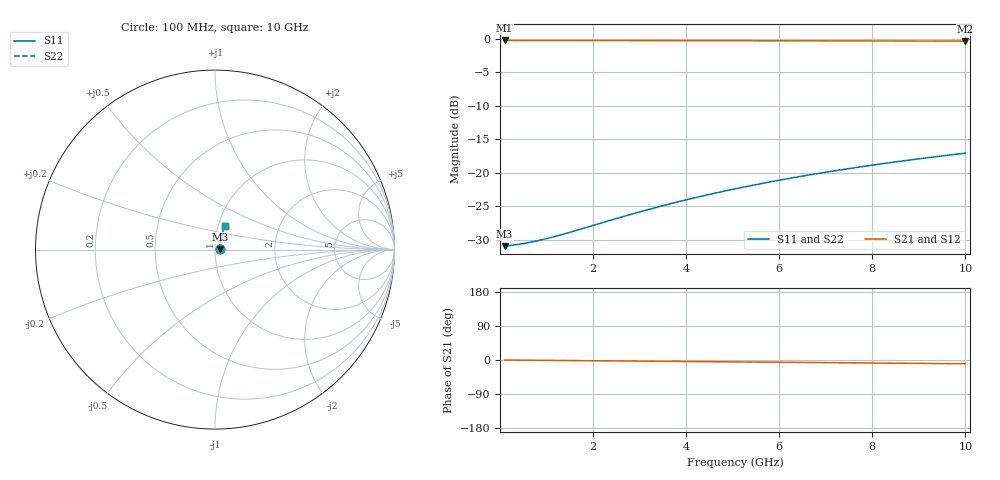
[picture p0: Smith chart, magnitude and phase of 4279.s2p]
# Hz S RI R 50.00
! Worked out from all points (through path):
!   100 points, 100 MHz to 10 GHz, reference 50 ohm
!   highest |S21| = -0.25 dB at 100 MHz (marker M1); lowest = -0.4 dB at 10 GHz (marker M2)
!   group delay of S21, straight-line fit = 2.74 ps
!   lowest |S11| = -31.0 dB at 100 MHz (marker M3), VSWR 1.06, Z = 52.9 + j0.141 ohm
!   |S11| at or under -10 dB: start of sweep to end of sweep
!   |S22| runs from -31.0 to -17.1 dB; largest |S21 - S12| = 0
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1e8  0.0282 0.00133  0.9718 -0.00168  0.9718 -0.00168  0.0282 0.00133
3e8  0.0285 0.00399  0.9715 -0.00505  0.9715 -0.00505  0.0285 0.00399
5e8  0.0287 0.00665  0.9713 -0.00841  0.9713 -0.00841  0.0287 0.00665
8e8  0.029 0.0106  0.9709 -0.0134  0.9709 -0.0134  0.029 0.0106
1e9  0.0292 0.0133  0.9708 -0.0168  0.9708 -0.0168  0.0292 0.0133
1.2e9  0.0294 0.016  0.9706 -0.0202  0.9706 -0.0202  0.0294 0.016
1.5e9  0.0297 0.0199  0.9702 -0.0252  0.9702 -0.0252  0.0297 0.0199
1.8e9  0.0301 0.0239  0.9699 -0.0302  0.9699 -0.0302  0.0301 0.0239
2.7e9  0.0313 0.0358  0.9687 -0.0453  0.9687 -0.0453  0.0313 0.0358
3.1e9  0.0319 0.0411  0.9681 -0.052  0.9681 -0.052  0.0319 0.0411
3.4e9  0.0324 0.045  0.9675 -0.057  0.9675 -0.057  0.0324 0.045
3.8e9  0.0331 0.0503  0.9668 -0.0636  0.9668 -0.0636  0.0331 0.0503
4.2e9  0.0339 0.0555  0.966 -0.0703  0.966 -0.0703  0.0339 0.0555
4.6e9  0.0348 0.0607  0.9651 -0.0769  0.9651 -0.0769  0.0348 0.0607
5.1e9  0.036 0.0673  0.9639 -0.0852  0.9639 -0.0852  0.036 0.0673
5.5e9  0.037 0.0724  0.9628 -0.0918  0.9628 -0.0918  0.037 0.0724
5.9e9  0.0381 0.0776  0.9617 -0.0984  0.9617 -0.0984  0.0381 0.0776
6.7e9  0.0405 0.0879  0.9592 -0.1115  0.9592 -0.1115  0.0405 0.0879
7.5e9  0.0431 0.0981  0.9565 -0.1245  0.9565 -0.1245  0.0431 0.0981
8.4e9  0.0464 0.1095  0.9531 -0.1391  0.9531 -0.1391  0.0464 0.1095
9.2e9  0.0497 0.1195  0.9498 -0.1519  0.9498 -0.1519  0.0497 0.1195
1e10  0.0532 0.1294  0.9462 -0.1646  0.9462 -0.1646  0.0532 0.1294
